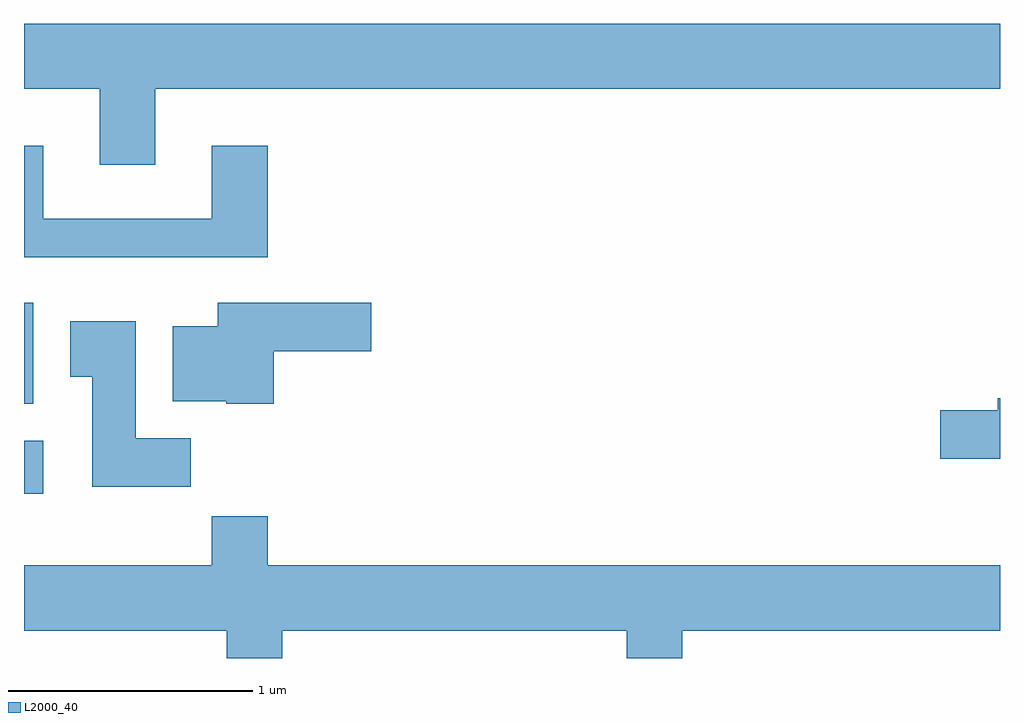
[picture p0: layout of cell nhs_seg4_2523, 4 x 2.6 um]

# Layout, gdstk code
import gdstk
lib = gdstk.Library(unit=1e-6, precision=1e-09)
def R(c, l, rs):  # rectangles x0, y0, x1, y1
    for r in rs: c.add(gdstk.rectangle(r[:2], r[2:], *l))
def P(c, l, *ps):  # polygons
    for p in ps: c.add(gdstk.Polygon(p, *l))
L2000_40 = (2000, 40)

nhs_seg4_2523 = lib.new_cell('nhs_seg4_2523')
R(nhs_seg4_2523, L2000_40, [(259.611,1268.656,259.689,1268.874), (259.611,1269.026,259.649,1269.439)])
P(nhs_seg4_2523, L2000_40, [(260.149,1270.316),(263.611,1270.316),(263.611,1270.584),(259.611,1270.584),(259.611,1270.316),(259.921,1270.316),(259.921,1270.006),(260.149,1270.006)],
  [(260.609,1270.084),(260.381,1270.084),(260.381,1269.784),(259.689,1269.784),(259.689,1270.084),(259.611,1270.084),(259.611,1269.626),(260.609,1269.626)],
  [(260.634,1269.241),(261.034,1269.241),(261.034,1269.439),(260.406,1269.439),(260.406,1269.344),(260.221,1269.344),(260.221,1269.036),(260.44,1269.036),(260.44,1269.026),(260.634,1269.026)],
  [(260.294,1268.884),(260.069,1268.884),(260.069,1269.364),(259.801,1269.364),(259.801,1269.136),(259.891,1269.136),(259.891,1268.686),(260.294,1268.686)],
  [(263.611,1269.049),(263.601,1269.049),(263.601,1268.999),(263.366,1268.999),(263.366,1268.801),(263.611,1268.801)],
  [(260.669,1268.096),(262.081,1268.096),(262.081,1267.982),(262.309,1267.982),(262.309,1268.096),(263.611,1268.096),(263.611,1268.364),(260.609,1268.364),(260.609,1268.564),(260.381,1268.564),(260.381,1268.364),(259.611,1268.364),(259.611,1268.096),(260.441,1268.096),(260.441,1267.982),(260.669,1267.982)])

lib.write_gds('nhs_seg4_2523.gds')
